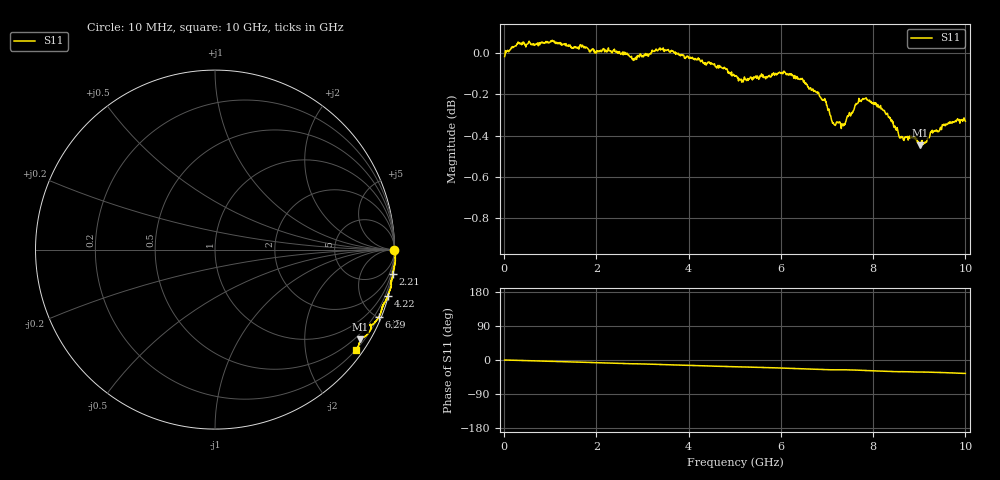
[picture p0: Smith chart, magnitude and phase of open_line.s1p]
!Keysight Technologies,N5247B,MY60213743,A.16.20.04
!Date: Thursday, June 05, 2025 14:59:08
!Correction: S11(C  1-Port  )
!S1P File: Measurement: S11:
# Hz S  RI  R 50
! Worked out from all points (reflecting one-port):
!   1000 points, 10 MHz to 10 GHz, reference 50 ohm
!   lowest |S11| = -0.4 dB at 9.01 GHz (marker M1), VSWR 38.91, Z = 17 - j174 ohm
!   phase of S11 starts at -0 deg and turns -35 deg over the sweep
!   S11 on the Smith chart (normalised r, x): 10 MHz: open; 2.21 GHz: -0, -15; 4.22 GHz: 0.09, -7.60; 6.29 GHz: 0.17, -5.04; 10 GHz: 0.20, -3.12
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1e7  0.9982 -0.00163
3.2e8  1.006 -0.0184
1.26e9  1.002 -0.0776
2.21e9  0.992 -0.1366
2.51e9  0.9879 -0.1554
2.82e9  0.9817 -0.1726
3.17e9  0.9815 -0.1908
3.4e9  0.9809 -0.2066
3.76e9  0.9731 -0.2294
4.22e9  0.9629 -0.2577
5.01e9  0.9395 -0.3034
5.29e9  0.9332 -0.3151
5.76e9  0.9261 -0.3416
6.26e9  0.914 -0.3745
6.29e9  0.9122 -0.3767
7e9  0.8767 -0.418
7.13e9  0.8668 -0.4171
7.38e9  0.865 -0.4196
7.51e9  0.8664 -0.4262
7.74e9  0.8664 -0.4437
7.92e9  0.8584 -0.4605
8.21e9  0.843 -0.4772
8.54e9  0.8216 -0.4901
8.76e9  0.8163 -0.491
9.01e9  0.8075 -0.5003
9.18e9  0.8083 -0.5053
9.5e9  0.8039 -0.5262
1e10  0.7843 -0.5583
